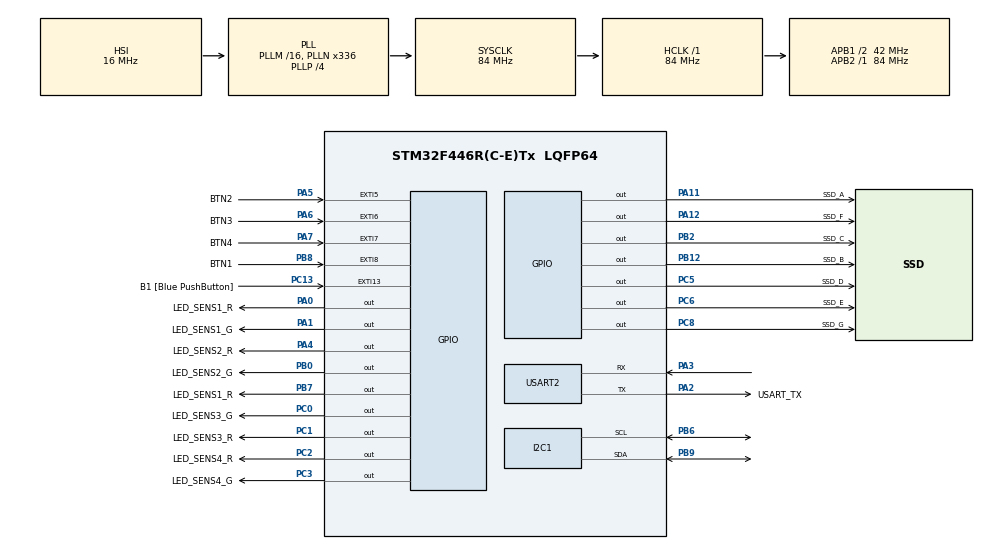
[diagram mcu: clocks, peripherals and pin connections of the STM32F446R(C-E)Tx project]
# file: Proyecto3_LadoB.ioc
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I2C1.GeneralCallMode=I2C_GENERALCALL_DISABLE
I2C1.NoStretchMode=I2C_NOSTRETCH_DISABLE
I2C1.OwnAddress=1
Mcu.Family=STM32F4
Mcu.Name=STM32F446R(C-E)Tx
Mcu.Package=LQFP64
NVIC.EXTI15_10_IRQn=true\:0\:0\:false\:false\:true\:true\:true\:true
NVIC.EXTI9_5_IRQn=true\:0\:0\:false\:false\:true\:true\:true\:true
NVIC.I2C1_ER_IRQn=true\:0\:0\:false\:false\:true\:true\:true\:true
NVIC.I2C1_EV_IRQn=true\:0\:0\:false\:false\:true\:true\:true\:true
NVIC.PriorityGroup=NVIC_PRIORITYGROUP_0
NVIC.USART2_IRQn=true\:0\:0\:false\:false\:true\:true\:true\:true
PA0-WKUP.GPIO_Label=LED_SENS1_R
PA0-WKUP.GPIO_Speed=GPIO_SPEED_FREQ_MEDIUM
PA0-WKUP.PinState=GPIO_PIN_SET
PA0-WKUP.Signal=GPIO_Output
PA1.GPIO_Label=LED_SENS1_G
PA1.GPIO_Speed=GPIO_SPEED_FREQ_MEDIUM
PA1.PinState=GPIO_PIN_SET
PA1.Signal=GPIO_Output
PA11.GPIO_Label=SSD_A
PA11.GPIO_Speed=GPIO_SPEED_FREQ_MEDIUM
PA11.PinState=GPIO_PIN_SET
PA11.Signal=GPIO_Output
PA12.GPIO_Label=SSD_F
PA12.GPIO_Speed=GPIO_SPEED_FREQ_MEDIUM
PA12.PinState=GPIO_PIN_SET
PA12.Signal=GPIO_Output
PA13.GPIO_Label=TMS
PA13.Mode=Serial_Wire
PA13.Signal=SYS_JTMS-SWDIO
PA14.GPIO_Label=TCK
PA14.Mode=Serial_Wire
PA14.Signal=SYS_JTCK-SWCLK
PA2.GPIO_Label=USART_TX
PA2.Mode=Asynchronous
PA2.Signal=USART2_TX
PA3.Mode=Asynchronous
PA3.Signal=USART2_RX
PA4.GPIO_Label=LED_SENS2_R
PA4.GPIO_Speed=GPIO_SPEED_FREQ_MEDIUM
PA4.PinState=GPIO_PIN_SET
PA4.Signal=GPIO_Output
PA5.GPIO_Label=BTN2
PA5.GPIO_PuPd=GPIO_PULLUP
PA5.Signal=GPXTI5
PA6.GPIO_Label=BTN3
PA6.GPIO_PuPd=GPIO_PULLUP
PA6.Signal=GPXTI6
PA7.GPIO_Label=BTN4
PA7.GPIO_PuPd=GPIO_PULLUP
PA7.Signal=GPXTI7
PB0.GPIO_Label=LED_SENS2_G
PB0.GPIO_Speed=GPIO_SPEED_FREQ_MEDIUM
PB0.PinState=GPIO_PIN_SET
PB0.Signal=GPIO_Output
PB12.GPIO_Label=SSD_B
PB12.GPIO_Speed=GPIO_SPEED_FREQ_MEDIUM
PB12.PinState=GPIO_PIN_SET
PB12.Signal=GPIO_Output
PB2.GPIO_Label=SSD_C
PB2.GPIO_Speed=GPIO_SPEED_FREQ_MEDIUM
PB2.PinState=GPIO_PIN_SET
PB2.Signal=GPIO_Output
PB3.GPIO_Label=SWO
PB3.Signal=SYS_JTDO-SWO
PB6.Mode=I2C
PB6.Signal=I2C1_SCL
PB7.GPIO_Label=LED_SENS1_R
PB7.GPIO_Speed=GPIO_SPEED_FREQ_MEDIUM
PB7.PinState=GPIO_PIN_SET
PB7.Signal=GPIO_Output
PB8.GPIO_Label=BTN1
PB8.GPIO_PuPd=GPIO_PULLUP
PB8.Signal=GPXTI8
PB9.Mode=I2C
PB9.Signal=I2C1_SDA
PC0.GPIO_Label=LED_SENS3_G
PC0.GPIO_Speed=GPIO_SPEED_FREQ_MEDIUM
PC0.PinState=GPIO_PIN_SET
PC0.Signal=GPIO_Output
PC1.GPIO_Label=LED_SENS3_R
PC1.GPIO_Speed=GPIO_SPEED_FREQ_MEDIUM
PC1.PinState=GPIO_PIN_SET
PC1.Signal=GPIO_Output
PC13.GPIO_Label=B1 [Blue PushButton]
PC13.GPIO_ModeDefaultEXTI=GPIO_MODE_IT_FALLING
PC13.Signal=GPXTI13
PC14-OSC32_IN.Mode=LSE-External-Oscillator
PC14-OSC32_IN.Signal=RCC_OSC32_IN
PC15-OSC32_OUT.Mode=LSE-External-Oscillator
PC15-OSC32_OUT.Signal=RCC_OSC32_OUT
PC2.GPIO_Label=LED_SENS4_R
PC2.GPIO_Speed=GPIO_SPEED_FREQ_MEDIUM
PC2.PinState=GPIO_PIN_SET
PC2.Signal=GPIO_Output
PC3.GPIO_Label=LED_SENS4_G
PC3.GPIO_Speed=GPIO_SPEED_FREQ_MEDIUM
PC3.PinState=GPIO_PIN_SET
PC3.Signal=GPIO_Output
PC5.GPIO_Label=SSD_D
PC5.GPIO_Speed=GPIO_SPEED_FREQ_MEDIUM
PC5.PinState=GPIO_PIN_SET
PC5.Signal=GPIO_Output
PC6.GPIO_Label=SSD_E
PC6.GPIO_Speed=GPIO_SPEED_FREQ_MEDIUM
PC6.PinState=GPIO_PIN_SET
PC6.Signal=GPIO_Output
PC8.GPIO_Label=SSD_G
PC8.GPIO_ModeDefaultOutputPP=GPIO_MODE_OUTPUT_PP
PC8.GPIO_Speed=GPIO_SPEED_FREQ_MEDIUM
PC8.PinState=GPIO_PIN_SET
PC8.Signal=GPIO_Output
PH0-OSC_IN.Mode=HSE-External-Oscillator
PH0-OSC_IN.Signal=RCC_OSC_IN
PH1-OSC_OUT.Mode=HSE-External-Oscillator
PH1-OSC_OUT.Signal=RCC_OSC_OUT
ProjectManager.HeapSize=0x200
ProjectManager.StackSize=0x400
ProjectManager.TargetToolchain=STM32CubeIDE
RCC.48MHZClocksFreq_Value=84000000
RCC.AHBFreq_Value=84000000
RCC.APB1CLKDivider=RCC_HCLK_DIV2
RCC.APB1Freq_Value=42000000
RCC.APB1TimFreq_Value=84000000
RCC.APB2Freq_Value=84000000
RCC.APB2TimFreq_Value=84000000
RCC.CortexFreq_Value=84000000
RCC.FLatency-AdvancedSettings=FLASH_LATENCY_2
RCC.HCLKFreq_Value=84000000
RCC.HSE_VALUE=8000000
RCC.HSI_VALUE=16000000
RCC.PLLN=336
RCC.PLLP=RCC_PLLP_DIV4
RCC.SYSCLKFreq_VALUE=84000000
RCC.SYSCLKSource=RCC_SYSCLKSOURCE_PLLCLK
RCC.USBFreq_Value=168000000
RCC.VCOOutputFreq_Value=336000000
USART2.VirtualMode=VM_ASYNC
board=NUCLEO-F446RE

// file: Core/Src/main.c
/* USER CODE BEGIN Header */
/**
  ******************************************************************************
  * @file           : main.c
  * @brief          : Main program body
  ******************************************************************************
  * @attention
  *
  * Copyright (c) 2024 STMicroelectronics.
  * All rights reserved.
  *
  * This software is licensed under terms that can be found in the LICENSE file
  * in the root directory of this software component.
  * If no LICENSE file comes with this software, it is provided AS-IS.
  *
  ******************************************************************************
  */
/* USER CODE END Header */
#include "main.h"

/* USER CODE BEGIN Includes */
#include "string.h"
#include "stdio.h"
/* USER CODE END Includes */

/* USER CODE BEGIN PTD */
typedef enum {
	NOT_AVAILABLE, AVAILABLE
} Disponibilidad;
/* USER CODE END PTD */

/* USER CODE BEGIN PD */
// Tabla de estados de pines (0 o 1) para cada valor de availableParkings (0 a 8)
#define PIN_STATES_SIZE 9
const uint8_t pinStates[PIN_STATES_SIZE] = {
    0b00111111,  // 0: Todos los segmentos menos G
    0b00000110,  // 1: B y C
    0b01011011,  // 2: A, B, G, E, D
    0b01001111,  // 3: A, B, G, C, D
    0b01100110,  // 4: F, G, B, C
    0b01101101,  // 5: A, F, G, C, D
    0b01111101,  // 6: A, F, G, E, D, C
    0b01000111,  // 7: A, B, C, G
    0b01111111   // 8: Todos los segmentos
};
#define STM32_SLAVE_ADDR 0x01  // Dirección del STM32 esclavo
#define ESP32_SLAVE_ADDR 0x02  // Dirección del ESP32 esclavo
/* USER CODE END PD */

I2C_HandleTypeDef hi2c1;

UART_HandleTypeDef huart2;

/* USER CODE BEGIN PV */
uint8_t availableParkings = 0;
volatile Disponibilidad Sensor1 = AVAILABLE;
volatile Disponibilidad Sensor2 = AVAILABLE;
volatile Disponibilidad Sensor3 = AVAILABLE;
volatile Disponibilidad Sensor4 = AVAILABLE;
uint8_t dataReceived; // Buffer para almacenar los datos recibidos
uint8_t DisponibilidadOtherSTM = 0;
uint8_t dataToSend = 0x55;
uint8_t receivedData[8] = {};
volatile uint8_t dataAvailable = 0;
uint8_t bufferRx[1] = {};
uint8_t responseData = 0xAA;  // Byte de respuesta de prueba
//Variables I2C
uint8_t I2C_Rx[1];
uint8_t Rx[1];
uint8_t Tx[1];
uint8_t byteControl= 0xF0;
// Variables para antirrebote y conteo por botón
uint32_t previousMillis[4] = {0, 0, 0, 0};
uint32_t currentMillis = 0;
uint32_t counterOutside = 0;
uint32_t counterInside[4] = {0, 0, 0, 0};
/* USER CODE END PV */

void SystemClock_Config(void);
static void MX_GPIO_Init(void);
static void MX_I2C1_Init(void);
static void MX_USART2_UART_Init(void);

int main(void)
{

  /* MCU Configuration--------------------------------------------------------*/

  /* Reset of all peripherals, Initializes the Flash interface and the Systick. */
  HAL_Init();

  /* Configure the system clock */
  SystemClock_Config();

  /* Initialize all configured peripherals */
  MX_GPIO_Init();
  MX_I2C1_Init();
  MX_USART2_UART_Init();
  /* USER CODE BEGIN 2 */
  void verificarAP(void) {
      static GPIO_TypeDef* const ports[] = {
          SSD_A_GPIO_Port, SSD_B_GPIO_Port, SSD_C_GPIO_Port,
          SSD_D_GPIO_Port, SSD_E_GPIO_Port, SSD_F_GPIO_Port,
          SSD_G_GPIO_Port
      };

      static const uint16_t pins[] = {
          SSD_A_Pin, SSD_B_Pin, SSD_C_Pin,
          SSD_D_Pin, SSD_E_Pin, SSD_F_Pin,
          SSD_G_Pin
      };

      // Lee el byte correspondiente al estado de los pines
      uint8_t estado = pinStates[availableParkings];

      // Itera sobre cada pin y configura su estado
      for (int i = 0; i < 7; i++) {
          HAL_GPIO_WritePin(ports[i], pins[i], (estado >> i) & 0x01);
      }
  }
  uint8_t contarSensoresDisponibles() {
      uint8_t contador = 0;
      contador = contador + DisponibilidadOtherSTM;
      if (byteControl & 0x01) {
              contador++;
	  }
	  if (byteControl & 0x02) {
		  contador++;
	  }
	  if (byteControl & 0x04) {
		  contador++;
	  }
	  if (byteControl & 0x08) {
		  contador++;
	  }
	  if (byteControl & 0x10) {
		  contador++;
	  }
	  if (byteControl & 0x20) {
		  contador++;
	  }
	  if (byteControl & 0x40) {
		  contador++;
	  }
	  if (byteControl & 0x80) {
		  contador++;
	  }
      return contador;
  }

  void verificarEstadoLEDS(void){
	  if (Sensor1 == AVAILABLE) {
		  HAL_GPIO_WritePin(LED_SENS1_G_GPIO_Port, LED_SENS1_G_Pin, 1);
		  HAL_GPIO_WritePin(LED_SENS1_R_GPIO_Port, LED_SENS1_R_Pin, 0);
	  }
	  if (Sensor1 == NOT_AVAILABLE) {
		  HAL_GPIO_WritePin(LED_SENS1_G_GPIO_Port, LED_SENS1_G_Pin, 0);
		  HAL_GPIO_WritePin(LED_SENS1_R_GPIO_Port, LED_SENS1_R_Pin, 1);
	  }
	  if (Sensor2 == AVAILABLE) {
		  HAL_GPIO_WritePin(LED_SENS2_G_GPIO_Port, LED_SENS2_G_Pin, 1);
		  HAL_GPIO_WritePin(LED_SENS2_R_GPIO_Port, LED_SENS2_R_Pin, 0);
	  }
	  if (Sensor2 == NOT_AVAILABLE) {
		  HAL_GPIO_WritePin(LED_SENS2_G_GPIO_Port, LED_SENS2_G_Pin, 0);
		  HAL_GPIO_WritePin(LED_SENS2_R_GPIO_Port, LED_SENS2_R_Pin, 1);
	  }
	  if (Sensor3 == AVAILABLE) {
		  HAL_GPIO_WritePin(LED_SENS3_G_GPIO_Port, LED_SENS3_G_Pin, 1);
		  HAL_GPIO_WritePin(LED_SENS3_R_GPIO_Port, LED_SENS3_R_Pin, 0);
	  }
	  if (Sensor3 == NOT_AVAILABLE) {
		  HAL_GPIO_WritePin(LED_SENS3_G_GPIO_Port, LED_SENS3_G_Pin, 0);
		  HAL_GPIO_WritePin(LED_SENS3_R_GPIO_Port, LED_SENS3_R_Pin, 1);
	  }
	  if (Sensor4 == AVAILABLE) {
		  HAL_GPIO_WritePin(LED_SENS4_G_GPIO_Port, LED_SENS4_G_Pin, 1);
		  HAL_GPIO_WritePin(LED_SENS4_R_GPIO_Port, LED_SENS4_R_Pin, 0);
	  }
	  if (Sensor4 == NOT_AVAILABLE) {
		  HAL_GPIO_WritePin(LED_SENS4_G_GPIO_Port, LED_SENS4_G_Pin, 0);
		  HAL_GPIO_WritePin(LED_SENS4_R_GPIO_Port, LED_SENS4_R_Pin, 1);
	  }
  }
  // Inicia la recepción en modo interrupción
  HAL_I2C_Slave_Receive_IT(&hi2c1, receivedData, 1);  // Prepararse para recibir otro byte
  /* USER CODE END 2 */

  /* Infinite loop */
  /* USER CODE BEGIN WHILE */
  while (1)
  {
	  availableParkings = contarSensoresDisponibles();
	  verificarAP();
	  verificarEstadoLEDS();
    /* USER CODE END WHILE */

  }
}

void SystemClock_Config(void)
{
  RCC_OscInitTypeDef RCC_OscInitStruct = {0};
  RCC_ClkInitTypeDef RCC_ClkInitStruct = {0};

  /** Configure the main internal regulator output voltage
  */
  __HAL_RCC_PWR_CLK_ENABLE();
  __HAL_PWR_VOLTAGESCALING_CONFIG(PWR_REGULATOR_VOLTAGE_SCALE3);

  /** Initializes the RCC Oscillators according to the specified parameters
  * in the RCC_OscInitTypeDef structure.
  */
  RCC_OscInitStruct.OscillatorType = RCC_OSCILLATORTYPE_HSI;
  RCC_OscInitStruct.HSIState = RCC_HSI_ON;
  RCC_OscInitStruct.HSICalibrationValue = RCC_HSICALIBRATION_DEFAULT;
  RCC_OscInitStruct.PLL.PLLState = RCC_PLL_ON;
  RCC_OscInitStruct.PLL.PLLSource = RCC_PLLSOURCE_HSI;
  RCC_OscInitStruct.PLL.PLLM = 16;
  RCC_OscInitStruct.PLL.PLLN = 336;
  RCC_OscInitStruct.PLL.PLLP = RCC_PLLP_DIV4;
  RCC_OscInitStruct.PLL.PLLQ = 2;
  RCC_OscInitStruct.PLL.PLLR = 2;
  if (HAL_RCC_OscConfig(&RCC_OscInitStruct) != HAL_OK)
  {
    Error_Handler();
  }

  /** Initializes the CPU, AHB and APB buses clocks
  */
  RCC_ClkInitStruct.ClockType = RCC_CLOCKTYPE_HCLK|RCC_CLOCKTYPE_SYSCLK
                              |RCC_CLOCKTYPE_PCLK1|RCC_CLOCKTYPE_PCLK2;
  RCC_ClkInitStruct.SYSCLKSource = RCC_SYSCLKSOURCE_PLLCLK;
  RCC_ClkInitStruct.AHBCLKDivider = RCC_SYSCLK_DIV1;
  RCC_ClkInitStruct.APB1CLKDivider = RCC_HCLK_DIV2;
  RCC_ClkInitStruct.APB2CLKDivider = RCC_HCLK_DIV1;

  if (HAL_RCC_ClockConfig(&RCC_ClkInitStruct, FLASH_LATENCY_2) != HAL_OK)
  {
    Error_Handler();
  }
}

static void MX_I2C1_Init(void)
{

  hi2c1.Instance = I2C1;
  hi2c1.Init.ClockSpeed = 100000;
  hi2c1.Init.DutyCycle = I2C_DUTYCYCLE_2;
  hi2c1.Init.OwnAddress1 = 2;
  hi2c1.Init.AddressingMode = I2C_ADDRESSINGMODE_7BIT;
  hi2c1.Init.DualAddressMode = I2C_DUALADDRESS_DISABLE;
  hi2c1.Init.OwnAddress2 = 0;
  hi2c1.Init.GeneralCallMode = I2C_GENERALCALL_DISABLE;
  hi2c1.Init.NoStretchMode = I2C_NOSTRETCH_DISABLE;
  if (HAL_I2C_Init(&hi2c1) != HAL_OK)
  {
    Error_Handler();
  }

}

static void MX_USART2_UART_Init(void)
{

  huart2.Instance = USART2;
  huart2.Init.BaudRate = 115200;
  huart2.Init.WordLength = UART_WORDLENGTH_8B;
  huart2.Init.StopBits = UART_STOPBITS_1;
  huart2.Init.Parity = UART_PARITY_NONE;
  huart2.Init.Mode = UART_MODE_TX_RX;
  huart2.Init.HwFlowCtl = UART_HWCONTROL_NONE;
  huart2.Init.OverSampling = UART_OVERSAMPLING_16;
  if (HAL_UART_Init(&huart2) != HAL_OK)
  {
    Error_Handler();
  }

}

static void MX_GPIO_Init(void)
{
  GPIO_InitTypeDef GPIO_InitStruct = {0};

  /* GPIO Ports Clock Enable */
  __HAL_RCC_GPIOC_CLK_ENABLE();
  __HAL_RCC_GPIOH_CLK_ENABLE();
  __HAL_RCC_GPIOA_CLK_ENABLE();
  __HAL_RCC_GPIOB_CLK_ENABLE();

  /*Configure GPIO pin Output Level */
  HAL_GPIO_WritePin(GPIOC, LED_SENS3_G_Pin|LED_SENS3_R_Pin|LED_SENS4_R_Pin|LED_SENS4_G_Pin
                          |SSD_D_Pin|SSD_E_Pin|SSD_G_Pin, GPIO_PIN_SET);

  /*Configure GPIO pin Output Level */
  HAL_GPIO_WritePin(GPIOA, LED_SENS1_R_Pin|LED_SENS1_G_Pin|LED_SENS2_R_Pin|SSD_A_Pin
                          |SSD_F_Pin, GPIO_PIN_SET);

  /*Configure GPIO pin Output Level */
  HAL_GPIO_WritePin(GPIOB, LED_SENS2_G_Pin|SSD_C_Pin|SSD_B_Pin|LED_SENS1_RB7_Pin, GPIO_PIN_SET);

  /*Configure GPIO pin : B1_Pin */
  GPIO_InitStruct.Pin = B1_Pin;
  GPIO_InitStruct.Mode = GPIO_MODE_IT_FALLING;
  GPIO_InitStruct.Pull = GPIO_NOPULL;
  HAL_GPIO_Init(B1_GPIO_Port, &GPIO_InitStruct);

  /*Configure GPIO pins : LED_SENS3_G_Pin LED_SENS3_R_Pin LED_SENS4_R_Pin LED_SENS4_G_Pin
                           SSD_D_Pin SSD_E_Pin SSD_G_Pin */
  GPIO_InitStruct.Pin = LED_SENS3_G_Pin|LED_SENS3_R_Pin|LED_SENS4_R_Pin|LED_SENS4_G_Pin
                          |SSD_D_Pin|SSD_E_Pin|SSD_G_Pin;
  GPIO_InitStruct.Mode = GPIO_MODE_OUTPUT_PP;
  GPIO_InitStruct.Pull = GPIO_NOPULL;
  GPIO_InitStruct.Speed = GPIO_SPEED_FREQ_MEDIUM;
  HAL_GPIO_Init(GPIOC, &GPIO_InitStruct);

  /*Configure GPIO pins : LED_SENS1_R_Pin LED_SENS1_G_Pin LED_SENS2_R_Pin SSD_A_Pin
                           SSD_F_Pin */
  GPIO_InitStruct.Pin = LED_SENS1_R_Pin|LED_SENS1_G_Pin|LED_SENS2_R_Pin|SSD_A_Pin
                          |SSD_F_Pin;
  GPIO_InitStruct.Mode = GPIO_MODE_OUTPUT_PP;
  GPIO_InitStruct.Pull = GPIO_NOPULL;
  GPIO_InitStruct.Speed = GPIO_SPEED_FREQ_MEDIUM;
  HAL_GPIO_Init(GPIOA, &GPIO_InitStruct);

  /*Configure GPIO pins : BTN2_Pin BTN3_Pin BTN4_Pin */
  GPIO_InitStruct.Pin = BTN2_Pin|BTN3_Pin|BTN4_Pin;
  GPIO_InitStruct.Mode = GPIO_MODE_IT_RISING;
  GPIO_InitStruct.Pull = GPIO_PULLUP;
  HAL_GPIO_Init(GPIOA, &GPIO_InitStruct);

  /*Configure GPIO pins : LED_SENS2_G_Pin SSD_C_Pin SSD_B_Pin LED_SENS1_RB7_Pin */
  GPIO_InitStruct.Pin = LED_SENS2_G_Pin|SSD_C_Pin|SSD_B_Pin|LED_SENS1_RB7_Pin;
  GPIO_InitStruct.Mode = GPIO_MODE_OUTPUT_PP;
  GPIO_InitStruct.Pull = GPIO_NOPULL;
  GPIO_InitStruct.Speed = GPIO_SPEED_FREQ_MEDIUM;
  HAL_GPIO_Init(GPIOB, &GPIO_InitStruct);

  /*Configure GPIO pin : BTN1_Pin */
  GPIO_InitStruct.Pin = BTN1_Pin;
  GPIO_InitStruct.Mode = GPIO_MODE_IT_RISING;
  GPIO_InitStruct.Pull = GPIO_PULLUP;
  HAL_GPIO_Init(BTN1_GPIO_Port, &GPIO_InitStruct);

  /* EXTI interrupt init*/
  HAL_NVIC_SetPriority(EXTI9_5_IRQn, 0, 0);
  HAL_NVIC_EnableIRQ(EXTI9_5_IRQn);

  HAL_NVIC_SetPriority(EXTI15_10_IRQn, 0, 0);
  HAL_NVIC_EnableIRQ(EXTI15_10_IRQn);

}

/* USER CODE BEGIN 4 */
/*
void HAL_GPIO_EXTI_Callback(uint16_t GPIO_Pin) {
    //1

    if (GPIO_Pin == GPIO_PIN_8) {
    	switch (Sensor1) {
			case NOT_AVAILABLE:
				Sensor1 = AVAILABLE;
				byteControl^= 0b00010000;
				Tx[0]=byteControl;
				Rx[0]=byteControl;
				break;
			case AVAILABLE:
				Sensor1 = NOT_AVAILABLE;
				byteControl^= 0b00010000;
				Tx[0]=byteControl;
				Rx[0]=byteControl;
				break;
			default:
				break;
		}
    }
    if (GPIO_Pin == GPIO_PIN_5) {
	   switch (Sensor2) {
			case NOT_AVAILABLE:
				Sensor2 = AVAILABLE;
				byteControl^= 0b00100000;
				Tx[0]=byteControl;
				Rx[0]=byteControl;
				break;
			case AVAILABLE:
				Sensor2 = NOT_AVAILABLE;
				byteControl^= 0b00100000;
				Tx[0]=byteControl;
				Rx[0]=byteControl;
				break;
			default:
				break;
		}
    }
    if (GPIO_Pin == GPIO_PIN_6) {
    	switch (Sensor3) {
			case NOT_AVAILABLE:
				Sensor3 = AVAILABLE;
				byteControl^= 0b01000000;
				Tx[0]=byteControl;
				Rx[0]=byteControl;
				break;
			case AVAILABLE:
				Sensor3 = NOT_AVAILABLE;
				byteControl^= 0b01000000;
				Tx[0]=byteControl;
				Rx[0]=byteControl;
				break;
			default:
				break;
		}
    }
	if (GPIO_Pin == GPIO_PIN_7) {
		switch (Sensor4) {
			case NOT_AVAILABLE:
				availableParkings = availableParkings + 1;
				Sensor4 = AVAILABLE;
				byteControl^= 0b10000000;
				Tx[0]=byteControl;
				Rx[0]=byteControl;
				break;
			case AVAILABLE:
				availableParkings = availableParkings - 1;
				Sensor4 = NOT_AVAILABLE;
				byteControl^= 0b10000000;
				Tx[0]=byteControl;
				Rx[0]=byteControl;
				break;
			default:
				break;
		}
	}

}*/
void HAL_GPIO_EXTI_Callback(uint16_t GPIO_Pin)
{
    counterOutside++; // Para pruebas
    currentMillis = HAL_GetTick();

    // Verificar qué botón fue presionado y aplicar el antirrebote
    if (GPIO_Pin == GPIO_PIN_8 && (currentMillis - previousMillis[0] > 250))
    {
        counterInside[0]++; // Para pruebas del botón 1
        previousMillis[0] = currentMillis;
        byteControl^= 0b00010000;
        Tx[0]=byteControl;
        Rx[0]=byteControl;
        //HAL_UART_Transmit_IT(&huart2, Tx, sizeof(Tx));
    }
    else if (GPIO_Pin == GPIO_PIN_5 && (currentMillis - previousMillis[1] > 250))
    {
        counterInside[1]++; // Para pruebas del botón 2
        previousMillis[1] = currentMillis;
        byteControl^= 0b00100000;
        Tx[0]=byteControl;
        Rx[0]=byteControl;
        //HAL_UART_Transmit_IT(&huart2, Tx, sizeof(Tx));

    }
    else if (GPIO_Pin == GPIO_PIN_6 && (currentMillis - previousMillis[2] > 250))
    {
        counterInside[2]++; // Para pruebas del botón 3
        previousMillis[2] = currentMillis;
        byteControl^= 0b01000000;
        Tx[0]=byteControl;
        Rx[0]=byteControl;
        //HAL_UART_Transmit_IT(&huart2, Tx, sizeof(Tx));
    }
    else if (GPIO_Pin == GPIO_PIN_7 && (currentMillis - previousMillis[3] > 250))
    {
        counterInside[3]++; // Para pruebas del botón 4

        previousMillis[3] = currentMillis;
        byteControl^= 0b10000000;
		Tx[0]=byteControl;
		Rx[0]=byteControl;
		//HAL_UART_Transmit_IT(&huart2, Tx, sizeof(Tx));
    }
}

//I2C
void HAL_I2C_ListenCpltCallback(I2C_HandleTypeDef *hi2c){
	//Pone el disposivo a escuchar
	HAL_I2C_EnableListen_IT(hi2c);
}

void HAL_I2C_AddrCallback(I2C_HandleTypeDef *hi2c, uint8_t TransferDirection, uint16_t AddrMatchCode){
	//Cuando recibe algo verifica la dirección
	if (TransferDirection== I2C_DIRECTION_TRANSMIT){
		HAL_I2C_Slave_Seq_Receive_IT(hi2c, I2C_Rx, sizeof(I2C_Rx), I2C_FIRST_AND_LAST_FRAME);
	} else{
		Tx[0]=byteControl;
		HAL_I2C_Slave_Seq_Transmit_IT(hi2c, Tx, sizeof(Tx), I2C_FIRST_AND_LAST_FRAME);
	}
}

void HAL_I2C_SlaveRxCpltCallback(I2C_HandleTypeDef *hi2c){
	//Al terminar la recepción de datos envía el byteControl (Parqueos) y vuelve a escuchar
	byteControl=I2C_Rx[0];
	HAL_UART_Transmit_IT(&huart2, I2C_Rx, sizeof(Tx));
	HAL_I2C_EnableListen_IT(hi2c);
}

void HAL_I2C_SlaveTxCpltCallback(I2C_HandleTypeDef *hi2c){
	//Al terminar el envío de datos se pone a escuchar
	HAL_I2C_EnableListen_IT(hi2c);
}

void HAL_I2C_ErrorCallback(I2C_HandleTypeDef *hi2c){{
	//Si hay errores, se pone a escuchar
}
	HAL_I2C_EnableListen_IT(hi2c);
}

/* USER CODE END 4 */

void Error_Handler(void)
{
  __disable_irq();
  while (1)
  {
  }
}
